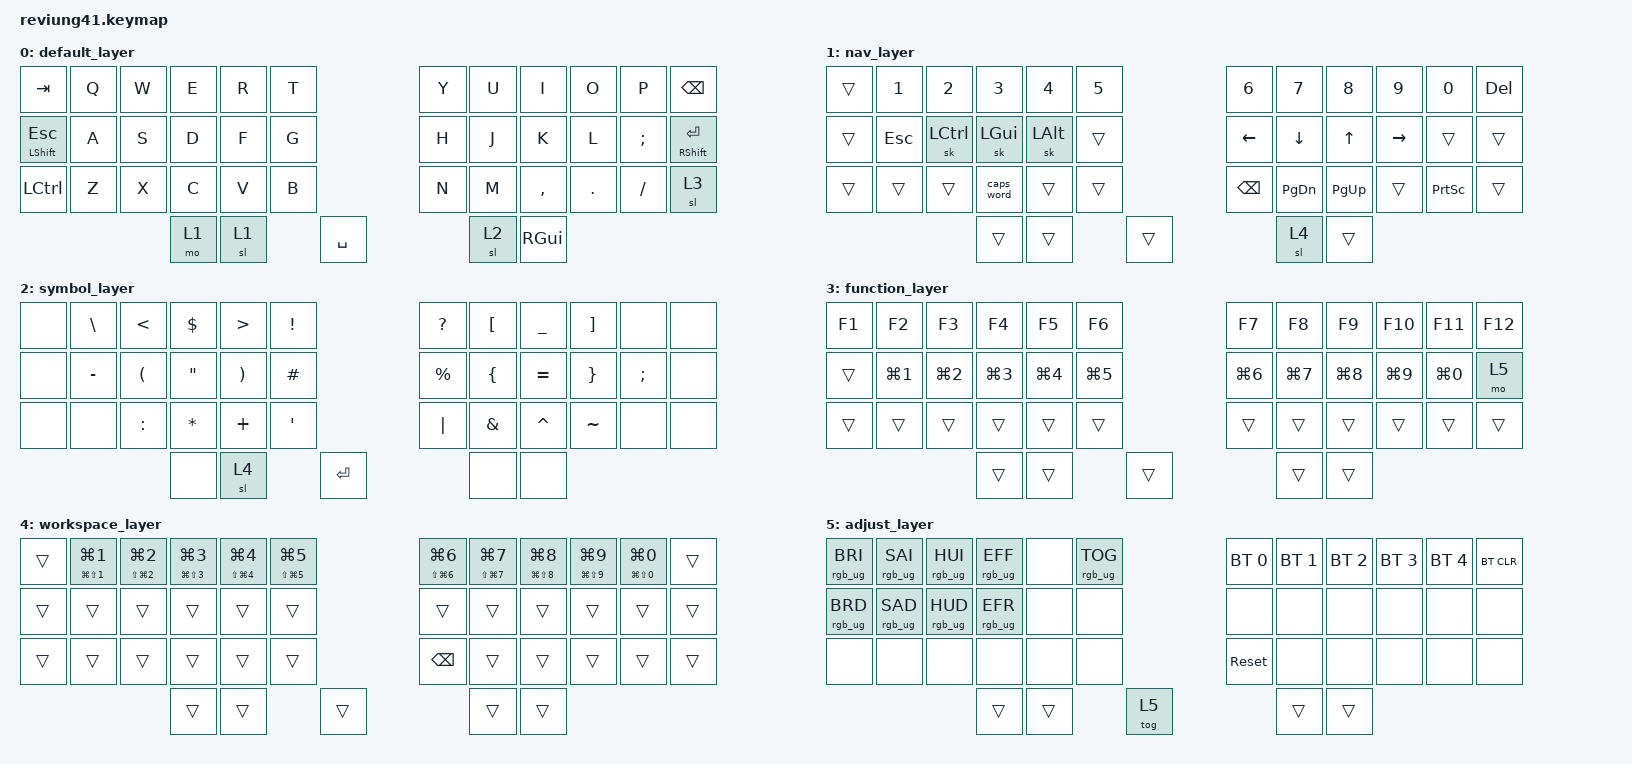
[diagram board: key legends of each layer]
/*
 * Copyright (c) 2020 The ZMK Contributors
 *
 * SPDX-License-Identifier: MIT
 */

#include <behaviors.dtsi>
#include <dt-bindings/zmk/bt.h>
#include <dt-bindings/zmk/keys.h>
#include <dt-bindings/zmk/rgb.h>

/ {
    combos {
        compatible = "zmk,combos";

        gui {
            bindings = <&kp LEFT_GUI>;
            key-positions = <19 20 19 20>;
            layers = <0>;
        };
    };

    keymap {
        compatible = "zmk,keymap";

        default_layer {
            bindings = <
&kp TAB                &kp Q  &kp W  &kp E  &kp R  &kp T             &kp Y  &kp U  &kp I      &kp O    &kp P     &kp BSPC
&mt LEFT_SHIFT ESCAPE  &kp A  &kp S  &kp D  &kp F  &kp G             &kp H  &kp J  &kp K      &kp L    &kp SEMI  &mt RSHIFT ENTER
&kp LCTRL              &kp Z  &kp X  &kp C  &kp V  &kp B             &kp N  &kp M  &kp COMMA  &kp DOT  &kp FSLH  &sl 3
                                     &mo 1  &sl 1         &kp SPACE         &sl 2  &kp RGUI
            >;
        };

        nav_layer {
            bindings = <
&trans  &kp NUMBER_1  &kp NUMBER_2  &kp N3      &kp N4        &kp N5          &kp N6         &kp N7         &kp N8       &kp N9     &kp N0     &kp DEL
&trans  &kp ESCAPE    &sk LCTRL     &sk LGUI    &sk LEFT_ALT  &trans          &kp LEFT       &kp DOWN       &kp UP       &kp RIGHT  &trans     &trans
&trans  &trans        &trans        &caps_word  &trans        &trans          &kp BACKSPACE  &kp PAGE_DOWN  &kp PAGE_UP  &trans     &kp PSCRN  &trans
                                    &trans      &trans                &trans                 &sl 4          &trans
            >;
        };

        symbol_layer {
            bindings = <
&none  &kp BACKSLASH  &kp LESS_THAN         &kp DOLLAR         &kp GREATER_THAN       &kp EXCL                     &kp QUESTION  &kp LEFT_BRACKET  &kp UNDERSCORE  &kp RIGHT_BRACKET  &none     &none
&none  &kp MINUS      &kp LEFT_PARENTHESIS  &kp DOUBLE_QUOTES  &kp RIGHT_PARENTHESIS  &kp HASH                     &kp PERCENT   &kp LEFT_BRACE    &kp EQUAL       &kp RIGHT_BRACE    &kp SEMI  &none
&none  &none          &kp COLON             &kp STAR           &kp PLUS               &kp SINGLE_QUOTE             &kp PIPE      &kp AMPS          &kp CARET       &kp TILDE          &none     &none
                                            &none              &sl 4                                    &kp ENTER                &none             &none
            >;
        };

        function_layer {
            bindings = <
&kp F1  &kp F2            &kp F3      &kp F4      &kp F5      &kp F6              &kp F7      &kp F8      &kp F9      &kp F10     &kp F11     &kp F12
&trans  &kp LG(NUMBER_1)  &kp LG(N2)  &kp LG(N3)  &kp LG(N4)  &kp LG(N5)          &kp LG(N6)  &kp LG(N7)  &kp LG(N8)  &kp LG(N9)  &kp LG(N0)  &mo 5
&trans  &trans            &trans      &trans      &trans      &trans              &trans      &trans      &trans      &trans      &trans      &trans
                                      &trans      &trans                  &trans              &trans      &trans
            >;
        };

        workspace_layer {
            bindings = <
&trans  &mt LG(LS(N1)) LG(N1)  &mt LS(LG(N2)) LG(N2)  &mt LG(LS(N3)) LG(N3)  &mt LS(LG(N4)) LG(N4)  &mt LS(LG(N5)) LG(N5)          &mt LS(LG(N6)) LG(N6)  &mt LS(LG(N7)) LG(N7)  &mt LG(LS(N8)) LG(N8)  &mt LG(LS(N9)) LG(N9)  &mt LG(LS(N0)) LG(N0)  &trans
&trans  &trans                 &trans                 &trans                 &trans                 &trans                         &trans                 &trans                 &trans                 &trans                 &trans                 &trans
&trans  &trans                 &trans                 &trans                 &trans                 &trans                         &kp BACKSPACE          &trans                 &trans                 &trans                 &trans                 &trans
                                                      &trans                 &trans                                        &trans                         &trans                 &trans
            >;
        };

        adjust_layer {
            bindings = <
&rgb_ug RGB_BRI  &rgb_ug RGB_SAI  &rgb_ug RGB_HUI  &rgb_ug RGB_EFF  &none   &rgb_ug RGB_TOG          &bt BT_SEL 0  &bt BT_SEL 1  &bt BT_SEL 2  &bt BT_SEL 3  &bt BT_SEL 4  &bt BT_CLR
&rgb_ug RGB_BRD  &rgb_ug RGB_SAD  &rgb_ug RGB_HUD  &rgb_ug RGB_EFR  &none   &none                    &none         &none         &none         &none         &none         &none
&none            &none            &none            &none            &none   &none                    &sys_reset    &none         &none         &none         &none         &none
                                                   &trans           &trans                   &tog 5                &trans        &trans
            >;
        };
    };
};
